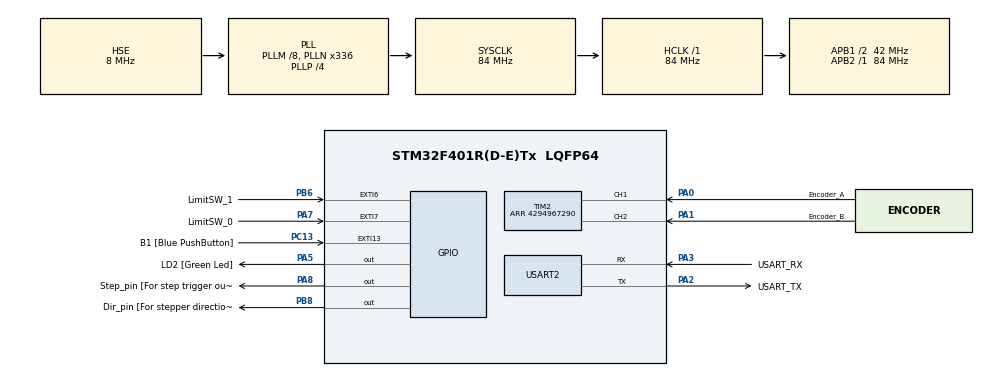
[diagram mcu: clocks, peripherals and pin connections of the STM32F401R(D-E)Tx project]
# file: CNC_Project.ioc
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Mcu.Family=STM32F4
Mcu.Name=STM32F401R(D-E)Tx
Mcu.Package=LQFP64
NVIC.EXTI15_10_IRQn=true\:0\:0\:false\:true\:true\:1\:true
NVIC.EXTI9_5_IRQn=true\:0\:0\:false\:true\:true\:2\:true
NVIC.PriorityGroup=NVIC_PRIORITYGROUP_0
NVIC.TIM1_BRK_TIM9_IRQn=true\:0\:0\:false\:true\:true\:4\:true
NVIC.USART2_IRQn=true\:0\:0\:false\:true\:true\:3\:true
PA0-WKUP.GPIO_Label=Encoder_A
PA0-WKUP.GPIO_PuPd=GPIO_PULLDOWN
PA0-WKUP.Signal=S_TIM2_CH1_ETR
PA1.GPIO_Label=Encoder_B
PA1.GPIO_PuPd=GPIO_PULLDOWN
PA1.Signal=S_TIM2_CH2
PA13.GPIO_Label=TMS
PA13.Signal=SYS_JTMS-SWDIO
PA14.GPIO_Label=TCK
PA14.Signal=SYS_JTCK-SWCLK
PA2.GPIO_Label=USART_TX
PA2.GPIO_Mode=GPIO_MODE_AF_PP
PA2.GPIO_PuPd=GPIO_NOPULL
PA2.GPIO_Speed=GPIO_SPEED_FREQ_LOW
PA2.Mode=Asynchronous
PA2.Signal=USART2_TX
PA3.GPIO_Label=USART_RX
PA3.GPIO_Mode=GPIO_MODE_AF_PP
PA3.GPIO_PuPd=GPIO_NOPULL
PA3.GPIO_Speed=GPIO_SPEED_FREQ_LOW
PA3.Mode=Asynchronous
PA3.Signal=USART2_RX
PA5.GPIO_Label=LD2 [Green Led]
PA5.GPIO_Mode=GPIO_MODE_OUTPUT_PP
PA5.GPIO_PuPd=GPIO_NOPULL
PA5.GPIO_Speed=GPIO_SPEED_FREQ_LOW
PA5.Signal=GPIO_Output
PA7.GPIO_Label=LimitSW_0
PA7.Signal=GPXTI7
PA8.GPIO_Label=Step_pin [For step trigger output]
PA8.GPIO_Speed=GPIO_SPEED_FREQ_HIGH
PA8.Signal=GPIO_Output
PB3.GPIO_Label=SWO
PB3.Signal=SYS_JTDO-SWO
PB6.GPIO_Label=LimitSW_1
PB6.Signal=GPXTI6
PB8.GPIO_Label=Dir_pin [For stepper direction]
PB8.GPIO_Speed=GPIO_SPEED_FREQ_VERY_HIGH
PB8.Signal=GPIO_Output
PC13-ANTI_TAMP.GPIO_Label=B1 [Blue PushButton]
PC13-ANTI_TAMP.GPIO_ModeDefaultEXTI=GPIO_MODE_IT_FALLING
PC13-ANTI_TAMP.GPIO_PuPd=GPIO_NOPULL
PC13-ANTI_TAMP.Signal=GPXTI13
PC14-OSC32_IN.Signal=RCC_OSC32_IN
PC15-OSC32_OUT.Signal=RCC_OSC32_OUT
PH0\ -\ OSC_IN.Mode=HSE-External-Oscillator
PH0\ -\ OSC_IN.Signal=RCC_OSC_IN
PH1\ -\ OSC_OUT.Mode=HSE-External-Oscillator
PH1\ -\ OSC_OUT.Signal=RCC_OSC_OUT
ProjectManager.HeapSize=0x200
ProjectManager.StackSize=0x400
ProjectManager.TargetToolchain=MDK-ARM V5
RCC.48MHZClocksFreq_Value=48000000
RCC.AHBFreq_Value=84000000
RCC.APB1CLKDivider=RCC_HCLK_DIV2
RCC.APB1Freq_Value=42000000
RCC.APB1TimFreq_Value=84000000
RCC.APB2Freq_Value=84000000
RCC.APB2TimFreq_Value=84000000
RCC.CortexFreq_Value=84000000
RCC.HCLKFreq_Value=84000000
RCC.HSE_VALUE=8000000
RCC.HSI_VALUE=16000000
RCC.LSE_VALUE=32768
RCC.PLLM=8
RCC.PLLN=336
RCC.PLLP=RCC_PLLP_DIV4
RCC.PLLQ=7
RCC.PLLSourceVirtual=RCC_PLLSOURCE_HSE
RCC.SYSCLKFreq_VALUE=84000000
RCC.SYSCLKSource=RCC_SYSCLKSOURCE_PLLCLK
RCC.VCOOutputFreq_Value=336000000
SH.S_TIM2_CH1_ETR.0=TIM2_CH1,Encoder_Interface
SH.S_TIM2_CH2.0=TIM2_CH2,Encoder_Interface
TIM2.EncoderMode=TIM_ENCODERMODE_TI12
TIM2.Period=4294967290
USART2.VirtualMode=VM_ASYNC
VP_TIM9_VS_ClockSourceINT.Mode=Internal
board=NUCLEO-F401RE

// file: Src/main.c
/**
  ******************************************************************************
  * File Name          : main.c
  * Description        : Main program body
  ******************************************************************************
  ** This notice applies to any and all portions of this file
  * that are not between comment pairs USER CODE BEGIN and
  * USER CODE END. Other portions of this file, whether
  * inserted by the user or by software development tools
  * are owned by their respective copyright owners.
  *
  * COPYRIGHT(c) 2018 STMicroelectronics
  *
  * Redistribution and use in source and binary forms, with or without modification,
  * are permitted provided that the following conditions are met:
  *   1. Redistributions of source code must retain the above copyright notice,
  *      this list of conditions and the following disclaimer.
  *   2. Redistributions in binary form must reproduce the above copyright notice,
  *      this list of conditions and the following disclaimer in the documentation
  *      and/or other materials provided with the distribution.
  *   3. Neither the name of STMicroelectronics nor the names of its contributors
  *      may be used to endorse or promote products derived from this software
  *      without specific prior written permission.
  *
  * THIS SOFTWARE IS PROVIDED BY THE COPYRIGHT HOLDERS AND CONTRIBUTORS "AS IS"
  * AND ANY EXPRESS OR IMPLIED WARRANTIES, INCLUDING, BUT NOT LIMITED TO, THE
  * IMPLIED WARRANTIES OF MERCHANTABILITY AND FITNESS FOR A PARTICULAR PURPOSE ARE
  * DISCLAIMED. IN NO EVENT SHALL THE COPYRIGHT HOLDER OR CONTRIBUTORS BE LIABLE
  * FOR ANY DIRECT, INDIRECT, INCIDENTAL, SPECIAL, EXEMPLARY, OR CONSEQUENTIAL
  * DAMAGES (INCLUDING, BUT NOT LIMITED TO, PROCUREMENT OF SUBSTITUTE GOODS OR
  * SERVICES; LOSS OF USE, DATA, OR PROFITS; OR BUSINESS INTERRUPTION) HOWEVER
  * CAUSED AND ON ANY THEORY OF LIABILITY, WHETHER IN CONTRACT, STRICT LIABILITY,
  * OR TORT (INCLUDING NEGLIGENCE OR OTHERWISE) ARISING IN ANY WAY OUT OF THE USE
  * OF THIS SOFTWARE, EVEN IF ADVISED OF THE POSSIBILITY OF SUCH DAMAGE.
  *
  ******************************************************************************
  */

#include "main.h"
#include "stm32f4xx_hal.h"

#include "decode_func.h"
/* USER CODE BEGIN Includes */
#include "stdbool.h"
#include "string.h"
/* USER CODE END Includes */

TIM_HandleTypeDef htim2;//for quadrature decoder
TIM_HandleTypeDef htim9;//for step reset cmd
//should set up another timer for status update

UART_HandleTypeDef huart2;

/* USER CODE BEGIN PV */
/* Private variables ---------------------------------------------------------*/
//macro definitions
	//moved to /* USER CODE BEGIN Private defines */ in main.h

//global variables
  //static msg's
    char Cmd_cflt_err_msg[]="1, CMD conflict";
    //incompatible command error message
    //conflict with current command

  static int Cur_CMD=0;
	static int Step_left=0;
  int LM0HIT=0;
  int LM1HIT=0;
  int Cur_Step_Num=100;//tied to increase/decrease with trigger()
    //uint8_t CMD_TO_EXE=0;
    //Probably not needed

  char CMD_buf[100];//buffer that stores the received msg/cmd
  //used in rx cplt function
    char Rx_buffer[100];
    unsigned char Rx_indx, Rx_data[2], Transfer_cplt;

    char Tx_buffer[2];
    int Rx_cb_indx=0;

  //CMD vairables
    //1 means trigger is called, will be reset to 0 when timer interrupts
    uint8_t Trigger_unfinished=1;
/* USER CODE END PV */

void SystemClock_Config(void);
static void MX_GPIO_Init(void);
static void MX_USART2_UART_Init(void);
static void MX_TIM9_Init(void);
static void MX_TIM2_Init(void);
static void MX_NVIC_Init(void);

/* USER CODE BEGIN PFP */
/* Private function prototypes -----------------------------------------------*/
//higher level cmds
  void exe_cmd(void);//you can say that this is a cmd dispatcher
//high level cmds
  void my_MX_init(void);
  void decode_msg(uint8_t end_char_index);
  void my_printf(void);
  bool isShort(int cmd_id);
  void exe_short_cmd(void);
  bool areCompatible(int cur_cmd_id, int new_cmd_id);
  void update_target(int cmd_id);
//low level controls
  void s_step(void);//simple step function
  //simple step function prototype with every parameters
  void simple_step(int num,uint8_t direction,int step_duration);
//lowest level controls
  void trigger(void);//use empirical data
  void calibration(void);
  void go_to_step(int target_step);
/* USER CODE END PFP */

/* USER CODE BEGIN 0 */
//the argument GPIO_Pin refers to the EXTI line
// void HAL_GPIO_EXTI_Callback(uint16_t GPIO_Pin)
// {
//   /* Prevent unused argument(s) compilation warning */
//   //UNUSED(GPIO_Pin);

//   //if the EXTI line is the line for Limit Switch 0
//   //Limit Switch 0 is the only EXTI source
//   //meaning Limit Switch at 0 position is hit
//   // if (GPIO_Pin==LimitSW_0_Pin)
//   // {
//   //   /* code */
//   // }

//   //newer version written in switch statement
//   //because there are a couple lines
//   switch(GPIO_Pin){
//     case LimitSW_0_Pin://EXTI7
//     break;
//     case LimitSW_1_Pin://EXTI6
//     break;
//     case B1_Pin://EXTI13
//       HAL_GPIO_TogglePin(LD2_GPIO_Port, LD2_Pin);
//     break;
//     default:
//     break;
//   }
// }

  void exe_cmd(){
    #ifdef EXE_CMD_DEBUG
    //debug mode: print the received cmd
      char debug_msg[40];
      sprintf (debug_msg, "CMD executing %d\n",cmd_buf[0]);
      HAL_UART_Transmit(&huart2, (uint8_t *)debug_msg, strlen(debug_msg) ,9999);//30 is buffer size
    #endif
    switch(Cur_CMD){
      case TRIGGER_CMD_ID:
        trigger();
        Cur_CMD=0;//reset the current cmd
      break;
      case SIMPLE_STEP_ALL_CMD_ID:{
				uint32_t step_duration=CMD_buf[3]*CMD_buf[4];
        simple_step(CMD_buf[1],CMD_buf[2],step_duration);
        //(int num,uint8_t direction,int step_duration)
			}
      break;
      case SIMPLE_GO_TO_CMD_ID:{
        int target_step=CMD_buf[1];
        int index=2;
        while(CMD_buf[index]!='$'){
        	target_step=target_step*10+CMD_buf[index];
        	index++;
        }

        go_to_step(target_step);
      }
      break;
      case CALIBRATION_CMD_ID:
      calibration();
      break;
    }
		//finished current CMD
		//Reset the CMD TO EXE
		Cur_CMD=0;
		char done_msg[]="$";
		HAL_UART_Transmit_IT(&huart2, (uint8_t *)done_msg, 1);//
  }

//consider this good for now
//this function only determines if the new CMD should be to execute
//if so, Cur_CMD is changed to to take effect
  void decode_msg(uint8_t end_char_index){
  int new_cmd_id=CMD_buf[0];
  char debug_msg[40];
  sprintf (debug_msg, "line 162 decode_msg called %d\n",end_char_index);
  HAL_UART_Transmit(&huart2, (uint8_t *)debug_msg, strlen(debug_msg) ,9999);//30 is buffer size
  //if short cmd such as ask status
  if(isShort(new_cmd_id)){
    exe_short_cmd();
    return;
  }

  //not short cmd

  //if there is an ongoing cmd
  if (Cur_CMD)
  {
    if (!areCompatible(Cur_CMD,new_cmd_id))
    {
      //causing conflict
      //print error msg
      HAL_UART_Transmit(&huart2, (uint8_t *)Cmd_cflt_err_msg, strlen(Cmd_cflt_err_msg),9999);
      //it really should be transmit_IT here to nonblockingly transmit,
        //but using blocking transmit
        //and to see this communicatio delay would be interesting
      //return keep executing current cmd
      return;
    }else{
      //is compatible
      Cur_CMD=new_cmd_id;
    }
  }else{
    //if no ongoing cmd
    //??activate CMD_TO_EXE flag?
    //is this needed
    //CMD_TO_EXE=1;
    Cur_CMD=new_cmd_id;
  }
  //if cmd is executed here, then parameter can be updated
  update_target(Cur_CMD);
  }

//high level commands
  void my_printf(){

  }

  bool isShort(int cmd_id){
    switch(cmd_id){
      case STEP_CMD_ID:
        return false;
      case TRIGGER_CMD_ID:
        return false;
      //step cmd with all parameters
      case SIMPLE_STEP_ALL_CMD_ID:
        return false;
      default:
        return false;
    }

  }
  void exe_short_cmd(){

  }
  bool areCompatible(int cur_cmd_id, int new_cmd_id){

    return false;
  }

  void update_target(int cmd_id){
    switch(cmd_id){
      case STEP_CMD_ID:
        Step_left=CMD_buf[1];
      break;
      case SIMPLE_STEP_ALL_CMD_ID:
        Step_left=CMD_buf[1];
      break;
    }
  }

// #define Dir_pin_Pin GPIO_PIN_8
// #define Dir_pin_GPIO_Port GPIOB

//low level controls
  void s_step(void){  }

  //simple step function prototype with every parameters
  void simple_step(int num,uint8_t direction,int step_duration){
	//step_duration in ms?
    //write direction pin correspondingly
    HAL_GPIO_WritePin(Dir_pin_GPIO_Port, Dir_pin_Pin,direction);
//????hope that this works

    //for each step left
      //global or local one maybe
    //doing num for now
    for (int i = 0; i < num; ++i)
    {
      // if (TIM10->CNT>50000)
      // {
      //   TIM10->CNT=0;
      // }
      // uint32_t start_time=TIM10->CNT;
      //trigger high
      trigger();
			//num=0;
			//changing num will change the number of loops
      //I need another timer here, but what ever
      //while() ;
      //for now, just gonna use HAL delay
      HAL_Delay(step_duration);
    }

      //wait for step duration
  }

//lowest level functions

  //step triggers, will be reset by timer9 IRQ
  void trigger(){
    Trigger_unfinished=0;
    //toggle the pin high
    HAL_GPIO_WritePin(LD2_GPIO_Port, LD2_Pin,GPIO_PIN_SET);
    HAL_GPIO_WritePin(Step_pin_GPIO_Port, Step_pin_Pin,GPIO_PIN_SET);
    //start timer 9 to toggle the trigger low
    HAL_TIM_Base_Start_IT(&htim9);
  }
void calibration(){//blocking, no argument
  //keep stepping until the switch is hit
  //go to zero position
  //say that when dir pin is on, the direction is negative
  //*write high to dir pin
  if (HAL_GPIO_ReadPin(LimitSW_0_GPIO_Port,LimitSW_0_Pin)==GPIO_PIN_SET)
    {
      LM0HIT=1;
    }else{

      Cur_Step_Num++;
      LM0HIT=0;
    }
  HAL_GPIO_WritePin(Dir_pin_GPIO_Port, Dir_pin_Pin,GPIO_PIN_SET);
  while(!LM0HIT){
    trigger();
    HAL_Delay(10);

  }
  LM0HIT=0;
  //set zero position
  Cur_Step_Num=0;
  //*write low to dir pin
    //--forget about go back and push forward with a slower speed for now

  //**comment out lines below for now
  // int total_steps=0;
  // while(!LM1HIT){
  //   total_steps++;
  //   trigger();
  //   HAL_Delay(50);
  // }
  // LM1HIT=0;
  //*record max number of steps
}

void go_to_step(int target_step){
  int steps_left=0;
  if(Cur_Step_Num>target_step){
    //go negative, write dir pin high
    HAL_GPIO_WritePin(Dir_pin_GPIO_Port, Dir_pin_Pin,GPIO_PIN_SET);
    steps_left=Cur_Step_Num-target_step;
    }
  else{
    HAL_GPIO_WritePin(Dir_pin_GPIO_Port, Dir_pin_Pin,GPIO_PIN_RESET);
    steps_left=target_step-Cur_Step_Num;
  }
  //try later for greater or smaller than
  #define GO_TO_DEBUG
    #ifdef GO_TO_DEBUG
    char debug_msg[40];
    sprintf (debug_msg, "line 354 go to, step left: %d\n",steps_left);
    HAL_UART_Transmit(&huart2, (uint8_t *)debug_msg, strlen(debug_msg) ,9999);//30 is buffer size
    #endif
  while(steps_left>0){
    trigger();
    HAL_Delay(50);
    steps_left-=1;
  #define GO_TO_DEBUG
    #ifdef GO_TO_DEBUG
    char debug_msg[40];
    sprintf (debug_msg, "line 354 go to, step left: %d\n",steps_left);
    HAL_UART_Transmit(&huart2, (uint8_t *)debug_msg, strlen(debug_msg) ,9999);//30 is buffer size
    #endif
  }
}

// void clear_cmd_buf(){
//   for (uint8_t i=0;i<CMD_MAX_SIZE;i++)//clear rx buffer
//   {
//     CMD_buf[i]=0;                     // clear Rx_buf before receiving new data
//   }
// }

// void HAL_UART_RxCpltCallback(UART_HandleTypeDef *huart)
// {
//   uint8_t i;//max 255, or 511?
//   //my_toggleled();
//   //do this to indicate that this routine is entered
//   //HAL_GPIO_TogglePin(LD2_GPIO_Port, LD2_Pin);

//   if (huart->Instance == USART2)             //is current&USB uart?
//   {
//     //if data is not being received
//     if (Rx_cb_indx == 0)
//     {
//       //****thinking abt moving this to after decode msg
//       clear_cmd_buf();
//       // for (i=0;i<CMD_MAX_SIZE;i++)//clear rx buffer
//       // {
//       //  CMD_buf[i]=0;                     // clear Rx_buf before receiving new data
//       // }
//     }
//     //if received data is different from the end character
//     if (Rx_data[0]!=MSG_END_CHAR)
//     {
//       CMD_buf[Rx_cb_indx++]= Rx_data[0];     // store data in buffer

//       //HAL_UART_Transmit(&huart2, (uint8_t *)CMD_buf, CMD_buf_SIZE,99999);
//     }
//     else                                  // if received data = 13
//     {
//       //at the end, decode received msg
//       //decode_msg(Rx_cb_indx);
//       Rx_cb_indx= 0;//re-init index to zero when an end is detected
//       HAL_UART_Transmit(&huart2, (uint8_t *)CMD_buf, CMD_buf_SIZE,99999);
//       #ifdef RX_CB_END_DEBUG
//       //debug mode: blockingly echo received bytes array
//       //when the end character detected
//       HAL_UART_Transmit(&huart2, (uint8_t *)CMD_buf, CMD_buf_SIZE,99999);
//         //buffer size could also be strlen(CMD_buf)
//       #endif
//       //maybe clear_cmd_buf() here
//     }
//     // activate receive in background
//     HAL_UART_Receive_IT (&huart2, Rx_data, 1);
//   }
// }

// void HAL_TIM_PeriodElapsedCallback(TIM_HandleTypeDef *htim)
// {
//   //if timer 9 reached the target period
//   if(htim->Instance==TIM9){
//     HAL_GPIO_WritePin(LD2_GPIO_Port, LD2_Pin,0);
//     HAL_TIM_Base_Stop_IT(&htim9);
//   }

// }
/* USER CODE END 0 */

int main(void)
{

  /* MCU Configuration----------------------------------------------------------*/
  my_MX_init();

/* USER CODE BEGIN 2 */
  //needed to make first interrupt detected
  //not sure why, but this works
  HAL_TIM_Base_Start_IT(&htim9);
  HAL_TIM_Base_Stop_IT(&htim9);

  //enable interrutp events for uart2
  __HAL_UART_ENABLE_IT(&huart2,UART_IT_RXNE);//receive data not empty interrupt
  __HAL_UART_ENABLE_IT(&huart2,UART_IT_TC);//transmit complet interrupt
  //start the callback
  HAL_UART_Receive_IT (&huart2, Rx_data, 1);
  // HAL_UART_Receive_IT (&huart2, Rx_buffer, 1);
  //start timer2 in encoder interface mode
	HAL_TIM_Encoder_Start(&htim2, TIM_CHANNEL_ALL);
/* USER CODE END 2 */
  //token 1 of i am alive by blink the led
  HAL_GPIO_WritePin(LD2_GPIO_Port, LD2_Pin,GPIO_PIN_SET);
  HAL_Delay(100);
  HAL_GPIO_WritePin(LD2_GPIO_Port, LD2_Pin,GPIO_PIN_RESET);
  //token 2 of i am alive by send a msg
  char alive_msg[]="Hello, I am alive\n";
  //blockingly send i am alive
  HAL_UART_Transmit(&huart2, (uint8_t *)alive_msg, strlen(alive_msg),99999);
  //non-blockingly send i am alive
  HAL_UART_Transmit_IT(&huart2, (uint8_t *)alive_msg, strlen(alive_msg));

  test();
  HAL_Delay(1000);
	//(int num,uint8_t direction,int step_duration)
  simple_step(10,0,20);
  /* Infinite loop */
  while (1)
  {

  /* USER CODE BEGIN 3 */
    if (Cur_CMD)//remember to declare the variable and function underneath
    {
      exe_cmd();//execute cmd based on cmd_buffer
      //is blocking
      //Cur_CMD=0;
    }
  }
  /* USER CODE END 3 */

}

//my version of initializations
//just a compilation of all the init calls
void my_MX_init(){
  /* Reset of all peripherals, Initializes the Flash interface and the Systick. */
  HAL_Init();

  /* Configure the system clock */
  SystemClock_Config();

  /* Initialize all configured peripherals */
  MX_GPIO_Init();
  MX_USART2_UART_Init();
  MX_TIM9_Init();
  MX_TIM2_Init();

  /* Initialize interrupts */
  MX_NVIC_Init();
}

/** System Clock Configuration
*/
void SystemClock_Config(void)
{

  RCC_OscInitTypeDef RCC_OscInitStruct;
  RCC_ClkInitTypeDef RCC_ClkInitStruct;

    /**Configure the main internal regulator output voltage
    */
  __HAL_RCC_PWR_CLK_ENABLE();

  __HAL_PWR_VOLTAGESCALING_CONFIG(PWR_REGULATOR_VOLTAGE_SCALE2);

    /**Initializes the CPU, AHB and APB busses clocks
    */
  RCC_OscInitStruct.OscillatorType = RCC_OSCILLATORTYPE_HSE;
  RCC_OscInitStruct.HSEState = RCC_HSE_ON;
  RCC_OscInitStruct.PLL.PLLState = RCC_PLL_ON;
  RCC_OscInitStruct.PLL.PLLSource = RCC_PLLSOURCE_HSE;
  RCC_OscInitStruct.PLL.PLLM = 8;
  RCC_OscInitStruct.PLL.PLLN = 336;
  RCC_OscInitStruct.PLL.PLLP = RCC_PLLP_DIV4;
  RCC_OscInitStruct.PLL.PLLQ = 7;
  if (HAL_RCC_OscConfig(&RCC_OscInitStruct) != HAL_OK)
  {
    _Error_Handler(__FILE__, __LINE__);
  }

    /**Initializes the CPU, AHB and APB busses clocks
    */
  RCC_ClkInitStruct.ClockType = RCC_CLOCKTYPE_HCLK|RCC_CLOCKTYPE_SYSCLK
                              |RCC_CLOCKTYPE_PCLK1|RCC_CLOCKTYPE_PCLK2;
  RCC_ClkInitStruct.SYSCLKSource = RCC_SYSCLKSOURCE_PLLCLK;
  RCC_ClkInitStruct.AHBCLKDivider = RCC_SYSCLK_DIV1;
  RCC_ClkInitStruct.APB1CLKDivider = RCC_HCLK_DIV2;
  RCC_ClkInitStruct.APB2CLKDivider = RCC_HCLK_DIV1;

  if (HAL_RCC_ClockConfig(&RCC_ClkInitStruct, FLASH_LATENCY_2) != HAL_OK)
  {
    _Error_Handler(__FILE__, __LINE__);
  }

    /**Configure the Systick interrupt time
    */
  HAL_SYSTICK_Config(HAL_RCC_GetHCLKFreq()/1000);

    /**Configure the Systick
    */
  HAL_SYSTICK_CLKSourceConfig(SYSTICK_CLKSOURCE_HCLK);

  /* SysTick_IRQn interrupt configuration */
  HAL_NVIC_SetPriority(SysTick_IRQn, 0, 0);
}

/** NVIC Configuration
*/
static void MX_NVIC_Init(void)
{
  /* EXTI15_10_IRQn interrupt configuration */
  HAL_NVIC_SetPriority(EXTI15_10_IRQn, 0, 0);
  HAL_NVIC_EnableIRQ(EXTI15_10_IRQn);
  /* EXTI9_5_IRQn interrupt configuration */
  HAL_NVIC_SetPriority(EXTI9_5_IRQn, 0, 0);
  HAL_NVIC_EnableIRQ(EXTI9_5_IRQn);
  /* USART2_IRQn interrupt configuration */
  HAL_NVIC_SetPriority(USART2_IRQn, 0, 0);
  HAL_NVIC_EnableIRQ(USART2_IRQn);
  /* TIM1_BRK_TIM9_IRQn interrupt configuration */
  HAL_NVIC_SetPriority(TIM1_BRK_TIM9_IRQn, 0, 0);
  HAL_NVIC_EnableIRQ(TIM1_BRK_TIM9_IRQn);
}

/* TIM2 init function */
static void MX_TIM2_Init(void)
{

  TIM_Encoder_InitTypeDef sConfig;
  TIM_MasterConfigTypeDef sMasterConfig;

  htim2.Instance = TIM2;
  htim2.Init.Prescaler = 0;
  htim2.Init.CounterMode = TIM_COUNTERMODE_UP;
  htim2.Init.Period = 4294967290;
  htim2.Init.ClockDivision = TIM_CLOCKDIVISION_DIV1;
  sConfig.EncoderMode = TIM_ENCODERMODE_TI12;
  sConfig.IC1Polarity = TIM_ICPOLARITY_RISING;
  sConfig.IC1Selection = TIM_ICSELECTION_DIRECTTI;
  sConfig.IC1Prescaler = TIM_ICPSC_DIV1;
  sConfig.IC1Filter = 0;
  sConfig.IC2Polarity = TIM_ICPOLARITY_RISING;
  sConfig.IC2Selection = TIM_ICSELECTION_DIRECTTI;
  sConfig.IC2Prescaler = TIM_ICPSC_DIV1;
  sConfig.IC2Filter = 0;
  if (HAL_TIM_Encoder_Init(&htim2, &sConfig) != HAL_OK)
  {
    _Error_Handler(__FILE__, __LINE__);
  }

  sMasterConfig.MasterOutputTrigger = TIM_TRGO_RESET;
  sMasterConfig.MasterSlaveMode = TIM_MASTERSLAVEMODE_DISABLE;
  if (HAL_TIMEx_MasterConfigSynchronization(&htim2, &sMasterConfig) != HAL_OK)
  {
    _Error_Handler(__FILE__, __LINE__);
  }

}

/* TIM9 init function */
static void MX_TIM9_Init(void)
{

  TIM_ClockConfigTypeDef sClockSourceConfig;

  htim9.Instance = TIM9;
  htim9.Init.Prescaler = 42000;
  //makes each tick at 84MHz/42k=2khz->.5ms
  htim9.Init.CounterMode = TIM_COUNTERMODE_UP;
//****tentative here
//timer9 used for trigger reset
  htim9.Init.Period = 2;//5ms
  //1000=500ms
  htim9.Init.ClockDivision = TIM_CLOCKDIVISION_DIV1;
  if (HAL_TIM_Base_Init(&htim9) != HAL_OK)
  {
    _Error_Handler(__FILE__, __LINE__);
  }

  sClockSourceConfig.ClockSource = TIM_CLOCKSOURCE_INTERNAL;
  if (HAL_TIM_ConfigClockSource(&htim9, &sClockSourceConfig) != HAL_OK)
  {
    _Error_Handler(__FILE__, __LINE__);
  }

}

/* USART2 init function */
static void MX_USART2_UART_Init(void)
{

  huart2.Instance = USART2;
  huart2.Init.BaudRate = 115200;
  huart2.Init.WordLength = UART_WORDLENGTH_8B;
  huart2.Init.StopBits = UART_STOPBITS_1;
  huart2.Init.Parity = UART_PARITY_NONE;
  huart2.Init.Mode = UART_MODE_TX_RX;
  huart2.Init.HwFlowCtl = UART_HWCONTROL_NONE;
  huart2.Init.OverSampling = UART_OVERSAMPLING_16;
  if (HAL_UART_Init(&huart2) != HAL_OK)
  {
    _Error_Handler(__FILE__, __LINE__);
  }

}

/** Configure pins as
        * Analog
        * Input
        * Output
        * EVENT_OUT
        * EXTI
*/
static void MX_GPIO_Init(void)
{

  GPIO_InitTypeDef GPIO_InitStruct;

  /* GPIO Ports Clock Enable */
  __HAL_RCC_GPIOC_CLK_ENABLE();
  __HAL_RCC_GPIOH_CLK_ENABLE();
  __HAL_RCC_GPIOA_CLK_ENABLE();
  __HAL_RCC_GPIOB_CLK_ENABLE();

  /*Configure GPIO pin Output Level */
  HAL_GPIO_WritePin(GPIOA, LD2_Pin|Step_pin_Pin, GPIO_PIN_RESET);

  /*Configure GPIO pin Output Level */
  HAL_GPIO_WritePin(Dir_pin_GPIO_Port, Dir_pin_Pin, GPIO_PIN_RESET);

  /*Configure GPIO pin : B1_Pin */
  GPIO_InitStruct.Pin = B1_Pin;
  GPIO_InitStruct.Mode = GPIO_MODE_IT_FALLING;
  GPIO_InitStruct.Pull = GPIO_NOPULL;
  HAL_GPIO_Init(B1_GPIO_Port, &GPIO_InitStruct);

  /*Configure GPIO pin : LD2_Pin */
  GPIO_InitStruct.Pin = LD2_Pin;
  GPIO_InitStruct.Mode = GPIO_MODE_OUTPUT_PP;
  GPIO_InitStruct.Pull = GPIO_NOPULL;
  GPIO_InitStruct.Speed = GPIO_SPEED_FREQ_LOW;
  HAL_GPIO_Init(LD2_GPIO_Port, &GPIO_InitStruct);

  /*Configure GPIO pin : LimitSW_0_Pin */
  GPIO_InitStruct.Pin = LimitSW_0_Pin;
  GPIO_InitStruct.Mode = GPIO_MODE_IT_RISING;
  GPIO_InitStruct.Pull = GPIO_PULLDOWN;
  HAL_GPIO_Init(LimitSW_0_GPIO_Port, &GPIO_InitStruct);

  /*Configure GPIO pin : Step_pin_Pin */
  GPIO_InitStruct.Pin = Step_pin_Pin;
  GPIO_InitStruct.Mode = GPIO_MODE_OUTPUT_PP;
  GPIO_InitStruct.Pull = GPIO_NOPULL;
  GPIO_InitStruct.Speed = GPIO_SPEED_FREQ_HIGH;
  HAL_GPIO_Init(Step_pin_GPIO_Port, &GPIO_InitStruct);

  /*Configure GPIO pin : LimitSW_1_Pin */
  GPIO_InitStruct.Pin = LimitSW_1_Pin;
  GPIO_InitStruct.Mode = GPIO_MODE_IT_RISING;
  GPIO_InitStruct.Pull = GPIO_NOPULL;
  HAL_GPIO_Init(LimitSW_1_GPIO_Port, &GPIO_InitStruct);

  /*Configure GPIO pin : Dir_pin_Pin */
  GPIO_InitStruct.Pin = Dir_pin_Pin;
  GPIO_InitStruct.Mode = GPIO_MODE_OUTPUT_PP;
  GPIO_InitStruct.Pull = GPIO_NOPULL;
  GPIO_InitStruct.Speed = GPIO_SPEED_FREQ_VERY_HIGH;
  HAL_GPIO_Init(Dir_pin_GPIO_Port, &GPIO_InitStruct);

}

void _Error_Handler(char * file, int line)
{
  while(1)
  {
  }
}

/************************ (C) COPYRIGHT STMicroelectronics *****END OF FILE****/
